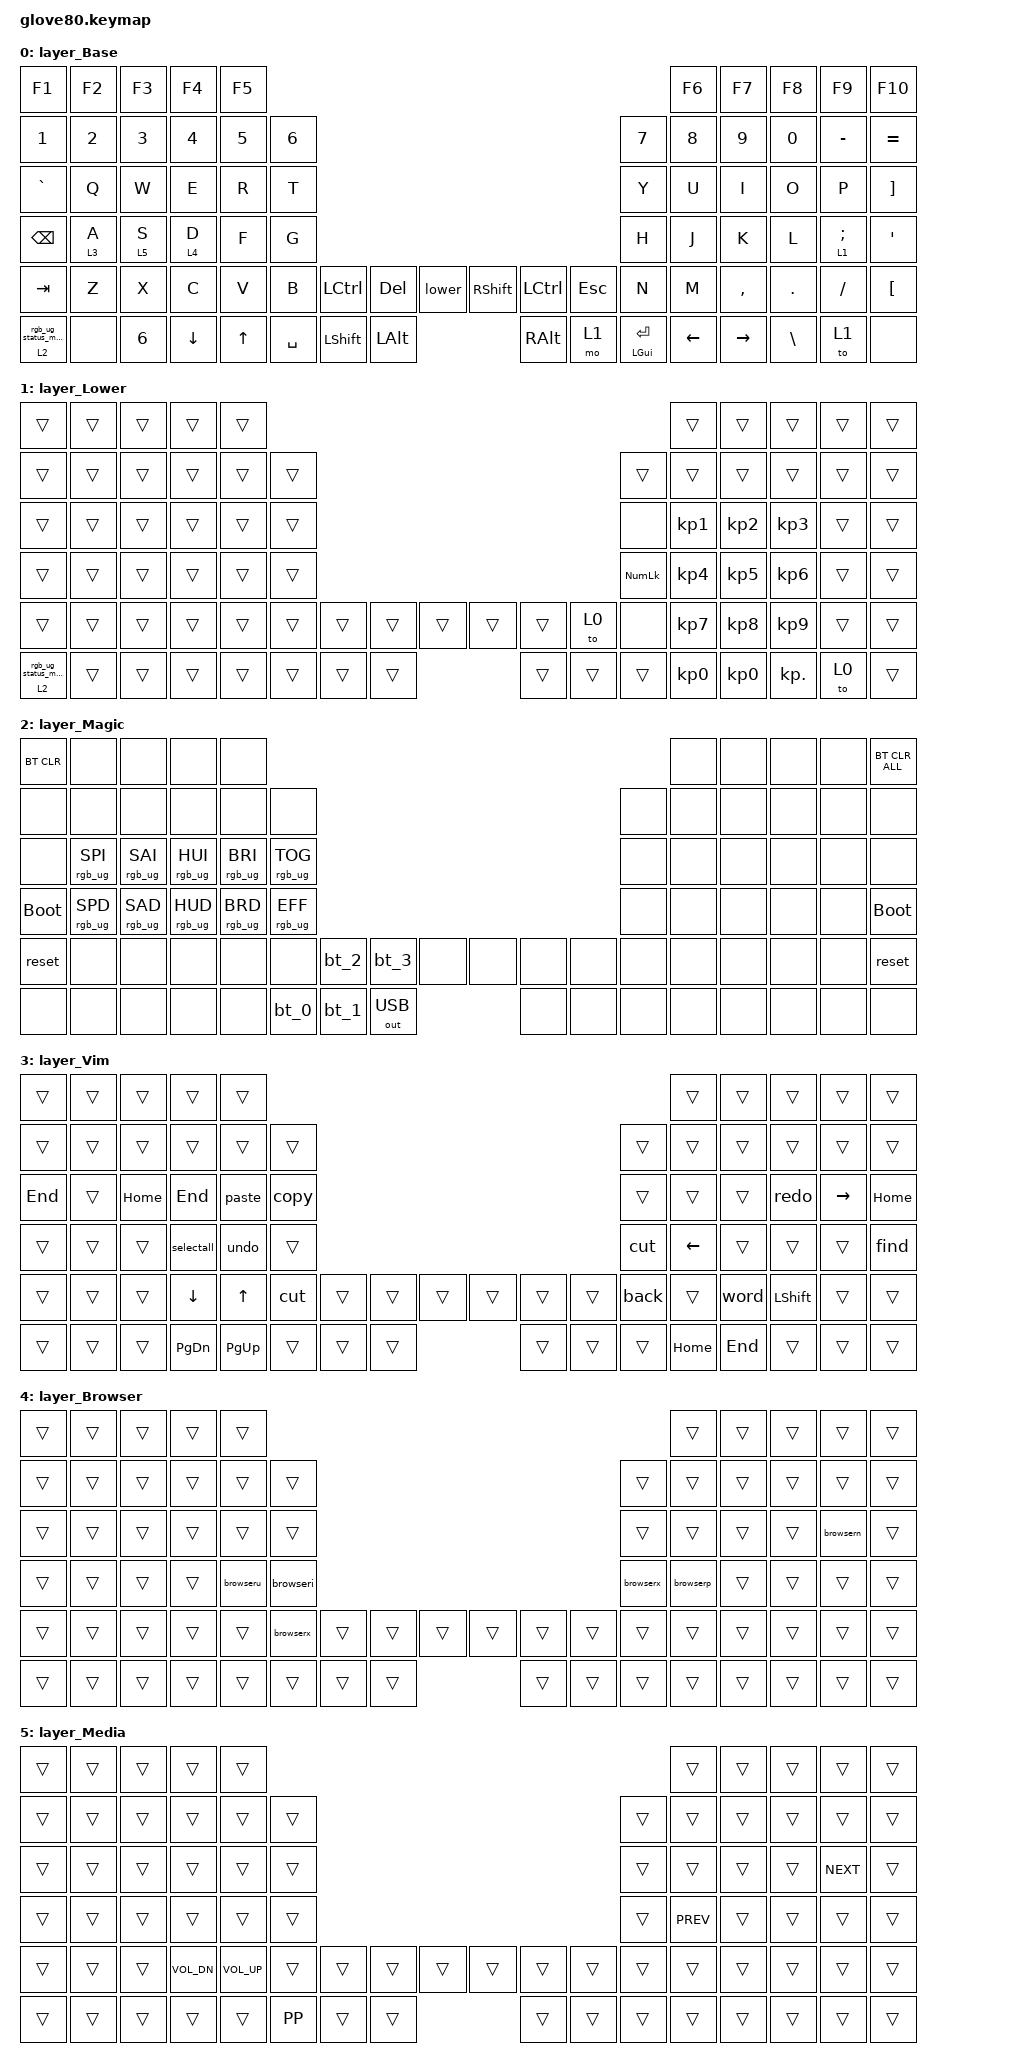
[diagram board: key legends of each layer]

/*
 * Copyright (c) 2020 The ZMK Contributors
 * Copyright (c) 2022 Innaworks Development Limited, trading as MoErgo
 *
 * SPDX-License-Identifier: MIT
 */


/* THIS FILE WAS GENERATED BY GLOVE80 LAYOUT EDITOR
 *
 * This file was generated automatically. You may or may not want to
 * edit it directly.
 */

#include <behaviors.dtsi>
/* Include all behaviour includes needed by system behaviors/macros */
#include <dt-bindings/zmk/outputs.h>

/* Include behaviour includes needed by key binds - automatically generated */
#include <dt-bindings/zmk/keys.h>
#include <dt-bindings/zmk/bt.h>
#include <dt-bindings/zmk/rgb.h>
#include <dt-bindings/zmk/outputs.h>


/ {
    /* Glove80 system behavior & macros */
    behaviors {
        // For the "layer" key, it'd nice to be able to use it as either a shift or a toggle.
        // Configure it as a tap dance, so the first tap (or hold) is a &mo and the second tap is a &to
        lower: tap_dance_0 {
            compatible = "zmk,behavior-tap-dance";
            label = "LAYER_TAP_DANCE";
            #binding-cells = <0>;
            tapping-term-ms = <200>;
            bindings = <&mo 1>, <&to 1>;
        };
    };
};

/ {
    macros {
        rgb_ug_status_macro: rgb_ug_status_macro_0 {
            label = "RGB_UG_STATUS";
            compatible = "zmk,behavior-macro";
            #binding-cells = <0>;
            bindings
                = <&rgb_ug RGB_STATUS>;
        };

        bt_0: bt_profile_macro_0 {
            label = "BT_0";
            compatible = "zmk,behavior-macro";
            #binding-cells = <0>;
            bindings
                = <&out OUT_BLE>,
                  <&bt BT_SEL 0>;
        };

        bt_1: bt_profile_macro_1 {
            label = "BT_1";
            compatible = "zmk,behavior-macro";
            #binding-cells = <0>;
            bindings
                = <&out OUT_BLE>,
                  <&bt BT_SEL 1>;
        };

        bt_2: bt_profile_macro_2 {
            label = "BT_2";
            compatible = "zmk,behavior-macro";
            #binding-cells = <0>;
            bindings
                = <&out OUT_BLE>,
                  <&bt BT_SEL 2>;
        };

        bt_3: bt_profile_macro_3 {
            label = "BT_3";
            compatible = "zmk,behavior-macro";
            #binding-cells = <0>;
            bindings
                = <&out OUT_BLE>,
                  <&bt BT_SEL 3>;
        };
    };
};

/ {
    magic: magic_hold_tap {
        compatible = "zmk,behavior-hold-tap";
        label = "MAGIC_HOLD_TAP";
        #binding-cells = <2>;
        flavor = "tap-preferred";
        tapping-term-ms = <200>;
        bindings = <&mo>, <&rgb_ug_status_macro>;
    };
};

    /* Custom Defined Behaviors */
/ {
    
macros {
    copy: copy {
        label = "copy";
        compatible = "zmk,behavior-macro";
        #binding-cells = <0>;
        wait-ms = <6>;
        tap-ms = <6>;
        bindings 
          = <&macro_press &kp LCTRL>
          , <&macro_tap &kp I>
          , <&macro_release &kp LCTRL>
        ;
    };
    paste: paste {
        label = "paste";
        compatible = "zmk,behavior-macro";
        #binding-cells = <0>;
        wait-ms = <6>;
        tap-ms = <6>;
        bindings 
          = <&macro_press &kp LCTRL>
          , <&macro_tap &kp GT>
          , <&macro_release &kp LCTRL>
        ;
    };
    cut: cut {
        label = "cut";
        compatible = "zmk,behavior-macro";
        #binding-cells = <0>;
        wait-ms = <6>;
        tap-ms = <6>;
        bindings 
          = <&macro_press &kp LCTRL>
          , <&macro_tap &kp B>
          , <&macro_release &kp LCTRL>
        ;
    };
    word: word {
        label = "word";
        compatible = "zmk,behavior-macro";
        #binding-cells = <0>;
        wait-ms = <6>;
        tap-ms = <6>;
        bindings 
          = <&macro_press &kp LCTRL>
          , <&macro_tap &kp RIGHT>
          , <&macro_release &kp LCTRL>
        ;
    };
    back: back {
        label = "backw";
        compatible = "zmk,behavior-macro";
        #binding-cells = <0>;
        wait-ms = <6>;
        tap-ms = <6>;
        bindings 
          = <&macro_press &kp LCTRL>
          , <&macro_tap &kp LEFT>
          , <&macro_release &kp LCTRL>
        ;
    };
    undo: undo {
        label = "undo";
        compatible = "zmk,behavior-macro";
        #binding-cells = <0>;
        wait-ms = <6>;
        tap-ms = <6>;
        bindings 
          = <&macro_press &kp LCTRL>
          , <&macro_tap &kp SLASH>
          , <&macro_release &kp LCTRL>
        ;
    };
    redo: redo {
        label = "redo";
        compatible = "zmk,behavior-macro";
        #binding-cells = <0>;
        wait-ms = <6>;
        tap-ms = <6>;
        bindings 
          = <&macro_press &kp LCTRL>
          , <&macro_tap &kp T>
          , <&macro_release &kp LCTRL>
        ;
    };
    find: find {
        label = "find";
        compatible = "zmk,behavior-macro";
        #binding-cells = <0>;
        wait-ms = <6>;
        tap-ms = <6>;
        bindings 
          = <&macro_press &kp LCTRL>
          , <&macro_tap &kp Y>
          , <&macro_release &kp LCTRL>
        ;
    };
    selectall: selectall {
        label = "selectall";
        compatible = "zmk,behavior-macro";
        #binding-cells = <0>;
        wait-ms = <6>;
        tap-ms = <6>;
        bindings 
          = <&macro_press &kp LCTRL>
          , <&macro_tap &kp A>
          , <&macro_release &kp LCTRL>
        ;
    };
    browsern: browsern {
        label = "browsern";
        compatible = "zmk,behavior-macro";
        #binding-cells = <0>;
        wait-ms = <6>;
        tap-ms = <6>;
        bindings 
          = <&macro_press &kp LCTRL>
          , <&macro_tap &kp PG_DN>
          , <&macro_release &kp LCTRL>
        ;
    };
    browserp: browserp {
        label = "browserp";
        compatible = "zmk,behavior-macro";
        #binding-cells = <0>;
        wait-ms = <6>;
        tap-ms = <6>;
        bindings 
          = <&macro_press &kp LCTRL>
          , <&macro_tap &kp PG_UP>
          , <&macro_release &kp LCTRL>
        ;
    };
    browsermn: browsermn {
        label = "browsermn";
        compatible = "zmk,behavior-macro";
        #binding-cells = <0>;
        wait-ms = <6>;
        tap-ms = <6>;
        bindings 
          = <&macro_press &kp LC(LSHIFT)>
          , <&macro_tap &kp PG_DN>
          , <&macro_release &kp LC(LSHIFT)>
        ;
    };
    browsermp: browsermp {
        label = "browsermp";
        compatible = "zmk,behavior-macro";
        #binding-cells = <0>;
        wait-ms = <6>;
        tap-ms = <6>;
        bindings 
          = <&macro_press &kp LC(LSHIFT)>
          , <&macro_tap &kp PG_UP>
          , <&macro_release &kp LC(LSHIFT)>
        ;
    };
    browseri: browseri {
        label = "browseri";
        compatible = "zmk,behavior-macro";
        #binding-cells = <0>;
        wait-ms = <6>;
        tap-ms = <6>;
        bindings 
          = <&macro_press &kp LC(LSHIFT)>
          , <&macro_tap &kp G>
          , <&macro_release &kp LC(LSHIFT)>
        ;
    };
    browseru: browseru {
        label = "browseru";
        compatible = "zmk,behavior-macro";
        #binding-cells = <0>;
        wait-ms = <6>;
        tap-ms = <6>;
        bindings 
          = <&macro_press &kp LC(LSHIFT)>
          , <&macro_tap &kp K>
          , <&macro_release &kp LC(LSHIFT)>
        ;
    };
    browserx: browserx {
        label = "browserx";
        compatible = "zmk,behavior-macro";
        #binding-cells = <0>;
        wait-ms = <6>;
        tap-ms = <6>;
        bindings 
          = <&macro_press &kp LCTRL>
          , <&macro_tap &kp COMMA>
          , <&macro_release &kp LCTRL>
        ;
    };
};

};

    /* Automatically generated keymap */
/ {
    keymap {
        compatible = "zmk,keymap";


        layer_Base {
            bindings = <
     &kp F1   &kp F2   &kp F3    &kp F4  &kp F5                                                                                        &kp F6     &kp F7    &kp F8      &kp F9    &kp F10
     &kp N1   &kp N2   &kp N3    &kp N4  &kp N5  &kp N6                                                                      &kp N7    &kp N8     &kp N9    &kp N0   &kp MINUS  &kp EQUAL
  &kp GRAVE    &kp Q    &kp W     &kp E   &kp R   &kp T                                                                       &kp Y     &kp U      &kp I     &kp O       &kp P   &kp RBKT
   &kp BSPC  &lt 3 A  &lt 5 S   &lt 4 D   &kp F   &kp G                                                                       &kp H     &kp J      &kp K     &kp L  &lt 1 SEMI    &kp SQT
    &kp TAB    &kp Z    &kp X     &kp C   &kp V   &kp B  &kp LCTRL    &kp DEL    &lower  &kp RSHFT  &kp LCTRL       &kp ESC   &kp N     &kp M  &kp COMMA   &kp DOT    &kp FSLH   &kp LBKT
 &magic 2 0    &none   &kp N6  &kp DOWN  &kp UP          &kp SPACE  &kp LSHFT  &kp LALT   &kp RALT      &mo 1  &mt LGUI RET          &kp LEFT  &kp RIGHT  &kp BSLH       &to 1      &none
            >;
        };

        layer_Lower {
            bindings = <
     &trans  &trans  &trans  &trans  &trans                                                                         &trans     &trans      &trans  &trans  &trans
     &trans  &trans  &trans  &trans  &trans  &trans                                                      &trans     &trans     &trans      &trans  &trans  &trans
     &trans  &trans  &trans  &trans  &trans  &trans                                                       &none  &kp KP_N1  &kp KP_N2   &kp KP_N3  &trans  &trans
     &trans  &trans  &trans  &trans  &trans  &trans                                                  &kp KP_NUM  &kp KP_N4  &kp KP_N5   &kp KP_N6  &trans  &trans
     &trans  &trans  &trans  &trans  &trans  &trans  &trans  &trans  &trans  &trans  &trans   &to 0       &none  &kp KP_N7  &kp KP_N8   &kp KP_N9  &trans  &trans
 &magic 2 0  &trans  &trans  &trans  &trans          &trans  &trans  &trans  &trans  &trans  &trans              &kp KP_N0  &kp KP_N0  &kp KP_DOT   &to 0  &trans
            >;
        };

        layer_Magic {
            bindings = <
  &bt BT_CLR            &none            &none            &none            &none                                                                                  &none   &none   &none   &none  &bt BT_CLR_ALL
       &none            &none            &none            &none            &none            &none                                                         &none   &none   &none   &none   &none           &none
       &none  &rgb_ug RGB_SPI  &rgb_ug RGB_SAI  &rgb_ug RGB_HUI  &rgb_ug RGB_BRI  &rgb_ug RGB_TOG                                                         &none   &none   &none   &none   &none           &none
 &bootloader  &rgb_ug RGB_SPD  &rgb_ug RGB_SAD  &rgb_ug RGB_HUD  &rgb_ug RGB_BRD  &rgb_ug RGB_EFF                                                         &none   &none   &none   &none   &none     &bootloader
      &reset            &none            &none            &none            &none            &none   &bt_2   &bt_3         &none   &none   &none   &none   &none   &none   &none   &none   &none          &reset
       &none            &none            &none            &none            &none                    &bt_0   &bt_1  &out OUT_USB   &none   &none   &none           &none   &none   &none   &none           &none
            >;
        };

        layer_Vim {
            bindings = <
  &trans  &trans    &trans      &trans     &trans                                                                    &trans   &trans     &trans     &trans    &trans
  &trans  &trans    &trans      &trans     &trans  &trans                                                  &trans    &trans   &trans     &trans     &trans    &trans
 &kp END  &trans  &kp HOME     &kp END     &paste   &copy                                                  &trans    &trans   &trans      &redo  &kp RIGHT  &kp HOME
  &trans  &trans    &trans  &selectall      &undo  &trans                                                    &cut  &kp LEFT   &trans     &trans     &trans     &find
  &trans  &trans    &trans    &kp DOWN     &kp UP    &cut  &trans  &trans  &trans  &trans  &trans  &trans   &back    &trans    &word  &kp LSHFT     &trans    &trans
  &trans  &trans    &trans   &kp PG_DN  &kp PG_UP          &trans  &trans  &trans  &trans  &trans  &trans          &kp HOME  &kp END     &trans     &trans    &trans
            >;
        };

        layer_Browser {
            bindings = <
 &trans  &trans  &trans  &trans     &trans                                                                           &trans  &trans  &trans     &trans  &trans
 &trans  &trans  &trans  &trans     &trans     &trans                                                     &trans     &trans  &trans  &trans     &trans  &trans
 &trans  &trans  &trans  &trans     &trans     &trans                                                     &trans     &trans  &trans  &trans  &browsern  &trans
 &trans  &trans  &trans  &trans  &browseru  &browseri                                                  &browserx  &browserp  &trans  &trans     &trans  &trans
 &trans  &trans  &trans  &trans     &trans  &browserx  &trans  &trans  &trans  &trans  &trans  &trans     &trans     &trans  &trans  &trans     &trans  &trans
 &trans  &trans  &trans  &trans     &trans             &trans  &trans  &trans  &trans  &trans  &trans                &trans  &trans  &trans     &trans  &trans
            >;
        };

        layer_Media {
            bindings = <
 &trans  &trans  &trans        &trans        &trans                                                                        &trans  &trans  &trans      &trans  &trans
 &trans  &trans  &trans        &trans        &trans  &trans                                                    &trans      &trans  &trans  &trans      &trans  &trans
 &trans  &trans  &trans        &trans        &trans  &trans                                                    &trans      &trans  &trans  &trans  &kp K_NEXT  &trans
 &trans  &trans  &trans        &trans        &trans  &trans                                                    &trans  &kp K_PREV  &trans  &trans      &trans  &trans
 &trans  &trans  &trans  &kp K_VOL_DN  &kp K_VOL_UP  &trans    &trans  &trans  &trans  &trans  &trans  &trans  &trans      &trans  &trans  &trans      &trans  &trans
 &trans  &trans  &trans        &trans        &trans          &kp K_PP  &trans  &trans  &trans  &trans  &trans              &trans  &trans  &trans      &trans  &trans
            >;
        };

    };
};
